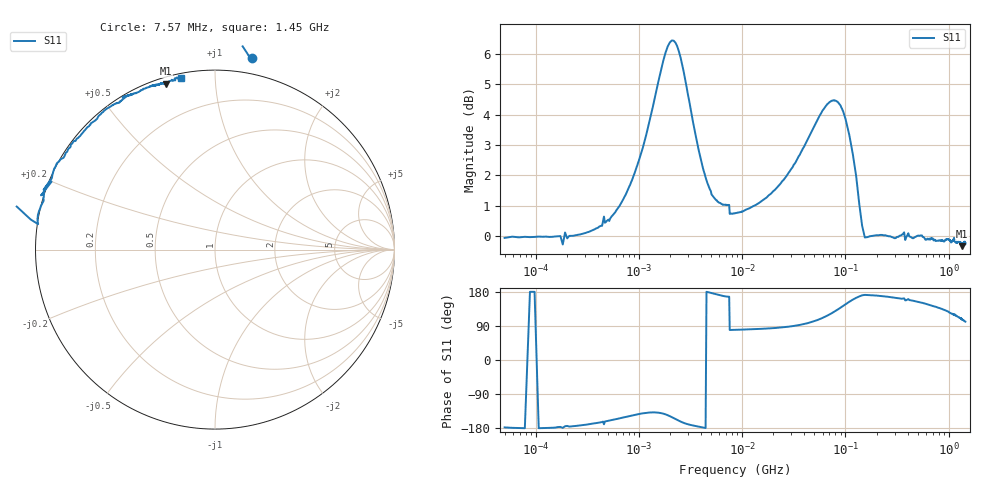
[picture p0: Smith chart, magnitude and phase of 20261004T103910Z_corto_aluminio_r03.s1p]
! piloto_corto / corto_aluminio / r03
# HZ S RI R 50
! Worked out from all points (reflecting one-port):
!   501 points, 50 kHz to 1.45 GHz, reference 50 ohm
!   lowest |S11| = -0.3 dB at 1.347 GHz (marker M1), VSWR 53.68, Z = 1.45 + j37.4 ohm
!   phase of S11 starts at -178 deg and turns -81 deg over the sweep
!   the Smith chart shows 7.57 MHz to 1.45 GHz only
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50000  -0.9933 -0.036
183000  -0.9696 -0.0162
439500  -0.9989 -0.2912
658000  -1.009 -0.5008
1180000  -1.118 -0.9558
1630000  -1.435 -1.199
1990000  -1.769 -1.095
2440000  -1.894 -0.6706
2800000  -1.768 -0.3992
3340000  -1.528 -0.1908
4690000  -1.213 0.0233
7300000  -1.098 0.2509
7750000  0.2027 1.07
8560000  0.1959 1.074
3.16e7  0.00289 1.311
4.69e7  -0.2629 1.463
6.76e7  -0.7743 1.458
8.02e7  -1.063 1.288
9.46e7  -1.273 0.9796
9.82e7  -1.297 0.8931
1e8  -1.307 0.8512
1.18e8  -1.276 0.4776
1.36e8  -1.105 0.2399
1.63e8  -0.986 0.1476
4.06e8  -0.955 0.3332
8.65e8  -0.6916 0.7035
1.3465e9  -0.2721 0.9242
1.45e9  -0.1876 0.9562
